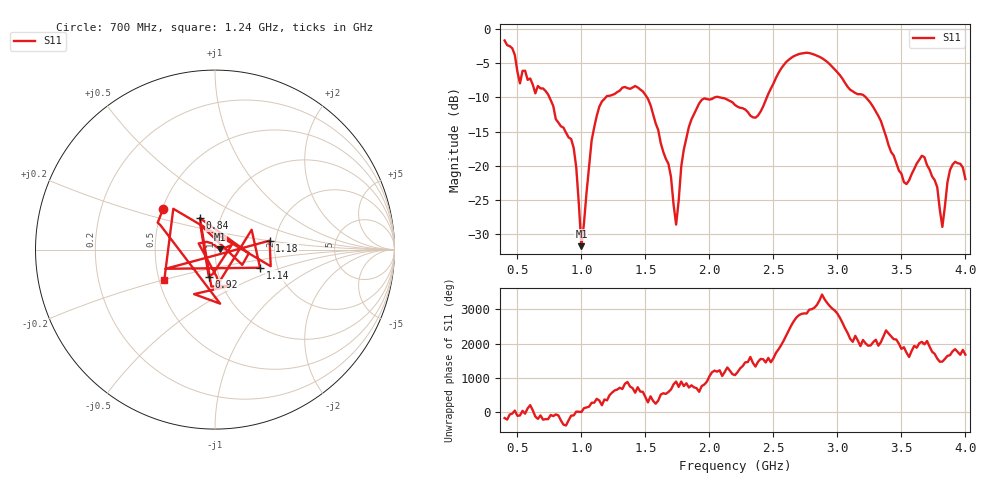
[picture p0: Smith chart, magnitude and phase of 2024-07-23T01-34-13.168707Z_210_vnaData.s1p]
!Created with skrf (http://scikit-rf.org).
# Hz S RI R 50.0
!freq ReS11 ImS11
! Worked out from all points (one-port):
!   181 points, 400 MHz to 4 GHz, reference 50 ohm
!   lowest |S11| = -31.8 dB at 1 GHz (marker M1), VSWR 1.05, Z = 52.6 + j0.216 ohm
!   |S11| at or under -10 dB: 750.5 MHz to 1.19 GHz (439.7 MHz wide, 45.3 % of centre); 1.513 GHz to 2.04 GHz (526.9 MHz wide, 29.7 % of centre); 3.223 GHz to end of sweep (the widest 3 of 4)
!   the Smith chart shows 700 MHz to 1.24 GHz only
!   S11 on the Smith chart (normalised r, x): 700 MHz: 0.50, +0.27; 840 MHz: 0.80, +0.29; 920 MHz: 0.89, -0.28; 1.14 GHz: 1.62, -0.35; 1.18 GHz: 1.86, +0.21; 1.24 GHz: 0.53, -0.20
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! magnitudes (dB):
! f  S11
! 400 MHz  -1.6
! 520 MHz  -7.9
! 700 MHz  -8.7
! 840 MHz  -14.2
! 860 MHz  -14.4
! 920 MHz  -16.1
! 960 MHz  -20.3
! 1 GHz  -31.8
! 1.08 GHz  -16.3
! 1.14 GHz  -11.4
! 1.18 GHz  -10.2
! 1.24 GHz  -9.6
! 1.3 GHz  -9.0
! 1.52 GHz  -10.2
! 1.68 GHz  -19.7
! 1.74 GHz  -28.7
! 1.76 GHz  -25.1
! 1.8 GHz  -17.7
! 1.92 GHz  -10.9
! 2.2 GHz  -11.1
! 2.36 GHz  -13.0
! 2.66 GHz  -3.9
! 3.1 GHz  -8.9
! 3.56 GHz  -22.2
! 3.68 GHz  -18.8
! 3.82 GHz  -29.0
! 3.9 GHz  -19.9
! 4 GHz  -22.0
